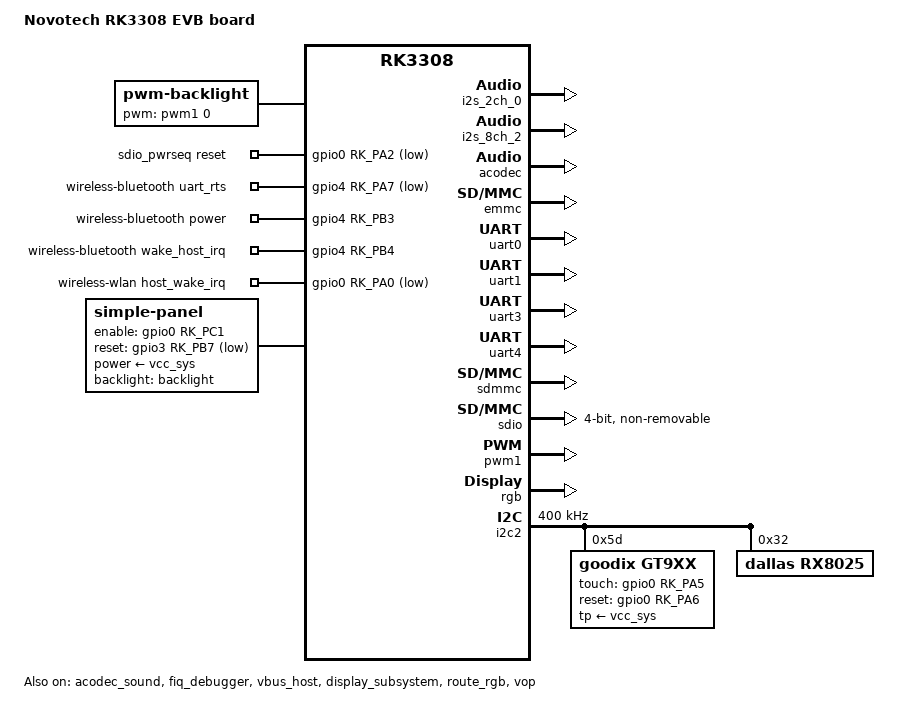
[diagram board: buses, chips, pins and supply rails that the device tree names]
// SPDX-License-Identifier: (GPL-2.0+ OR MIT)
/*
 * Copyright (c) 2018 Fuzhou Rockchip Electronics Co., Ltd
 */

/dts-v1/;

#include "rk3308-novotech.dtsi"

/ {
	model = "Novotech RK3308 EVB board";
	compatible = "rockchip,rk3308-evb-novotech", "rockchip,rk3308";

	chosen {
		bootargs = "earlycon=uart8250,mmio32,0xff0c0000 console=ttyFIQ0 swiotlb=1 root=PARTUUID=614e0000-0000 rootfstype=ext4 ro rootwait snd_aloop.index=7";
	};

	backlight: backlight {
		status = "okay";
		compatible = "pwm-backlight";
		pwms = <&pwm1 0 25000 0>;
		brightness-levels = <
			  0   1   2   3   4   5   6   7
			  8   9  10  11  12  13  14  15
			 16  17  18  19  20  21  22  23
			 24  25  26  27  28  29  30  31
			 32  33  34  35  36  37  38  39
			 40  41  42  43  44  45  46  47
			 48  49  50  51  52  53  54  55
			 56  57  58  59  60  61  62  63
			 64  65  66  67  68  69  70  71
			 72  73  74  75  76  77  78  79
			 80  81  82  83  84  85  86  87
			 88  89  90  91  92  93  94  95
			 96  97  98  99 100 101 102 103
			104 105 106 107 108 109 110 111
			112 113 114 115 116 117 118 119
			120 121 122 123 124 125 126 127
			128 129 130 131 132 133 134 135
			136 137 138 139 140 141 142 143
			144 145 146 147 148 149 150 151
			152 153 154 155 156 157 158 159
			160 161 162 163 164 165 166 167
			168 169 170 171 172 173 174 175
			176 177 178 179 180 181 182 183
			184 185 186 187 188 189 190 191
			192 193 194 195 196 197 198 199
			200 201 202 203 204 205 206 207
			208 209 210 211 212 213 214 215
			216 217 218 219 220 221 222 223
			224 225 226 227 228 229 230 231
			232 233 234 235 236 237 238 239
			240 241 242 243 244 245 246 247
			248 249 250 251 252 253 254 255>;
		default-brightness-level = <200>;
	};

	sdio_pwrseq: sdio-pwrseq {
		compatible = "mmc-pwrseq-simple";
		pinctrl-names = "default";
		pinctrl-0 = <&wifi_enable_h>;

		/*
		 * On the module itself this is one of these (depending
		 * on the actual card populated):
		 * - SDIO_RESET_L_WL_REG_ON
		 * - PDN (power down when low)
		 */
		reset-gpios = <&gpio0 RK_PA2 GPIO_ACTIVE_LOW>;
	};

	wireless-bluetooth {
		compatible = "bluetooth-platdata";
		uart_rts_gpios = <&gpio4 RK_PA7 GPIO_ACTIVE_LOW>;
		pinctrl-names = "default", "rts_gpio";
		pinctrl-0 = <&uart4_rts>;
		pinctrl-1 = <&uart4_rts_gpio>;
		BT,power_gpio    = <&gpio4 RK_PB3 GPIO_ACTIVE_HIGH>;
		BT,wake_host_irq = <&gpio4 RK_PB4 GPIO_ACTIVE_HIGH>;
		status = "okay";
	};

	wireless-wlan {
		compatible = "wlan-platdata";
		rockchip,grf = <&grf>;
		pinctrl-names = "default";
		pinctrl-0 = <&wifi_wake_host>;
		wifi_chip_type = "ap6236";
		WIFI,host_wake_irq = <&gpio0 RK_PA0 GPIO_ACTIVE_LOW>;
		status = "okay";
	};
};

&pinctrl {
	touchscreen {
		pinctrl_touchscreen: watchdog-grp {
			rockchip,pins = <0 RK_PA6 RK_FUNC_GPIO &pcfg_pull_none>,
					<0 RK_PA5 RK_FUNC_GPIO &pcfg_pull_none>;
		};
	};

	panel {
		pinctrl_panel: panel-grp {
			rockchip,pins = <0 RK_PC1 RK_FUNC_GPIO &pcfg_pull_none>,
					<3 RK_PB7 RK_FUNC_GPIO &pcfg_pull_none>;
		};
	};

	sdio-pwrseq {
		wifi_enable_h: wifi-enable-h {
			rockchip,pins = <0 RK_PA2 RK_FUNC_GPIO &pcfg_pull_none>;
		};
	};

	wireless-wlan {
		wifi_wake_host: wifi-wake-host {
			rockchip,pins = <0 RK_PA0 RK_FUNC_GPIO &pcfg_pull_up>;
		};
	};
};

&acodec_sound {
	status = "okay";
};

&i2s_2ch_0 {
	status = "okay";
};

&vad {
	status = "disabled";
	rockchip,audio-src = <&i2s_8ch_2>;
	rockchip,det-channel = <0>;
	rockchip,mode = <1>;
	rockchip,buffer-time-ms = <100>;
	#sound-dai-cells = <0>;
};

&i2s_8ch_2 {
	status = "okay";
};

&acodec {
	status = "okay";
	rockchip,no-deep-low-power;
	rockchip,loopback-grp = <3>;
	rockchip,adc-grps-route = <0 1 2 3>;
	rockchip,en-always-grps = <0 1 2>;
};

&emmc {
	    status = "okay";
};

&nandc {
	    status = "disabled";
};

&fiq_debugger {
	    status = "okay";
	    pinctrl-names = "default";
	    pinctrl-0 = <&uart2m0_xfer>;
};

&uart0 {
	pinctrl-names = "default";
	pinctrl-0 = <&uart0_xfer>;
	status = "okay";
};

&uart1 {
	pinctrl-names = "default";
	pinctrl-0 = <&uart1_xfer>;
	status = "okay";
};

&uart3 {
	pinctrl-names = "default";
	pinctrl-0 = <&uart3_xfer>;
	status = "okay";
};

&uart4 {
	pinctrl-names = "default";
	pinctrl-0 = <&uart4_xfer &uart4_cts>;
	status = "okay";
};

&sdmmc {
	status = "okay";
};

&sdio {
	bus-width = <4>;
	cap-sd-highspeed;
	supports-sdio;
	ignore-pm-notify;
	keep-power-in-suspend;
	non-removable;
	mmc-pwrseq = <&sdio_pwrseq>;
	sd-uhs-sdr104;
	status = "okay";
};

&vbus_host {
	    status = "okay";
	    enable-active-high;
};

&pwm1 {
	status = "okay";
	pinctrl-names = "active";
	pinctrl-0 = <&pwm1_pin_pull_down>;
};

&panel {
	power-supply = <&vcc_sys>;
	pinctrl-names = "default";
	pinctrl-0 = <&pinctrl_panel>;
	compatible = "simple-panel";
	enable-gpio = <&gpio0 RK_PC1 GPIO_ACTIVE_HIGH>;
	reset-gpio = <&gpio3 RK_PB7 GPIO_ACTIVE_LOW>;

	/* MEDIA_BUS_FMT_RGB888_1X24 MEDIA_BUS_FMT_RGB666_1X18 MEDIA_BUS_FMT_RGB565_1X16 */
	bus-format = <MEDIA_BUS_FMT_RGB666_1X18>;
	bpc = <8>;

	backlight = <&backlight>;
	status = "okay";

	display-timings {
		native-mode = <&at070tn94_timing>;

		at070tn94_timing: timing0 {
			clock-frequency = <30000000>;
			hactive = <800>;
			vactive = <480>;
			hback-porch = <210>;
			hfront-porch = <46>;
			vback-porch = <23>;
			vfront-porch = <22>;
			hsync-len = <10>;
			vsync-len = <5>;
			hsync-active = <1>;
			vsync-active = <1>;
			de-active = <0>;
			pixelclk-active = <1>;
		};
	};
};

&rgb {
	status = "okay";
};

&display_subsystem {
	status = "okay";
};

&route_rgb {
	status = "okay";
	logo,kernel = "logo_kernel.bmp";
};

&vop {
	status = "okay";
};

&i2c2 {
	clock-frequency = <400000>;
	status = "okay";

        gt9xx: gt9xx@5d {
                compatible = "goodix,gt9xx";
		pinctrl-names = "default";
		pinctrl-0 = <&pinctrl_touchscreen>;
                reg = <0x5d>;
                touch-gpio = <&gpio0 RK_PA5 IRQ_TYPE_LEVEL_LOW>;
                reset-gpio = <&gpio0 RK_PA6 GPIO_ACTIVE_HIGH>;
                max-x = <4096>;
                max-y = <4096>;
		dt-param = <0>;
		screen-width = <800>;
		screen-height = <480>;
		start-x = <3583>;
		end-x = <0>;
		start-y = <3327>;
		end-y = <0>;
		swap-xy = <0>;
                tp-size = <9110>;
                tp-supply = <&vcc_sys>;
        };

	rx8025: rtc@32 {
		compatible = "dallas,rx8025";
		reg = <0x32>;
		trickle-resistor-ohms = <250>;
	};
};



